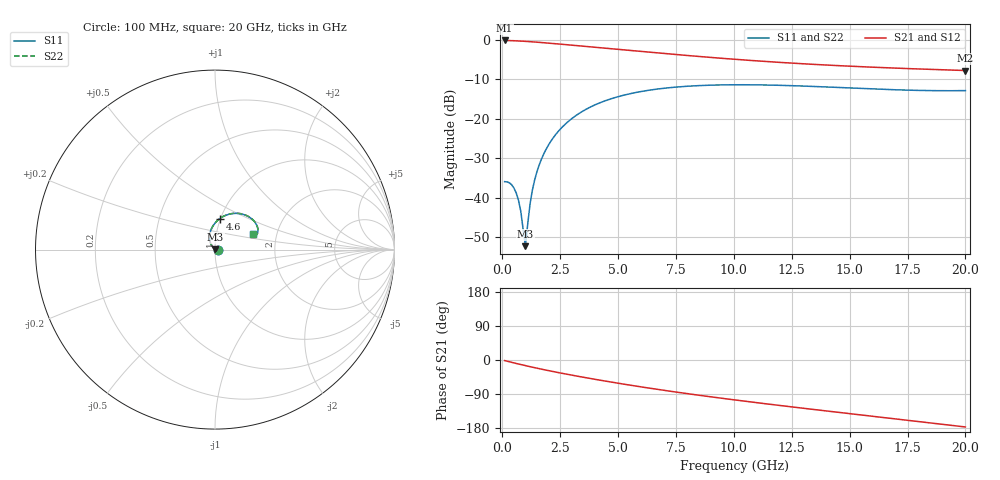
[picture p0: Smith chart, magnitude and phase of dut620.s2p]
! Touchstone file exported from HFSS 2024.1.0
!  File:  C:/UserFiles/LocalFiles/RDL_TSV_Batchsim/temp_RDL_TSV_620_1779801900.aedt
!  Generated:  09:37:50 PM May 26, 2026
!  Design:  RDL_TSV
!  Project:  temp_RDL_TSV_620_1779801900
!  Setup:  Setup1
!  Solution:  Sweep
! Variables:
!  dtsv = 11.95um
!  hbump = 3um
!  htsv = 58.79um
!  ldown = 401.41um
!  lrdl = 343.46um
!  p = 40
!  p1 = 42.47um
!  rhole = 10um
!  subl = 2578.07um
!  t = 450um
!  tdown = 4.8um
!  trdl = 2.23um
!  viad = 10um
!  wdown = 11.71um
!  wrdl = 28.02um
!  xbump = 18um
# GHz S MA R 50.000000
! Terminal data exported
! Port[1] = TM1_1_T1
! Port[2] = TM1_4_T1
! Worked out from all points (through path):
!   200 points, 100 MHz to 20 GHz, reference 50 ohm
!   highest |S21| = -0.14 dB at 100 MHz (marker M1); lowest = -7.8 dB at 20 GHz (marker M2)
!   group delay of S21, straight-line fit = 23.2 ps
!   lowest |S11| = -52.3 dB at 1 GHz (marker M3), VSWR 1.00, Z = 50.1 + j0.225 ohm
!   |S11| at or under -10 dB: start of sweep to end of sweep
!   |S22| runs from -52.4 to -11.4 dB; largest |S21 - S12| = 8.9e-15
!   S11 on the Smith chart (normalised r, x): 100 MHz: 1.03, +0.00; 4.6 GHz: 0.99, +0.35; 20 GHz: 1.50, +0.28
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0.1  0.0159 0.5  0.9836 -1.6  0.9836 -1.6  0.0159 0.5
! Gamma 0 0 0 0
! Port Impedance 50 0 50 0
0.4  0.01458 -2.0  0.9782 -6.2  0.9782 -6.2  0.01457 -2.1
0.6  0.01145 -4.5  0.9727 -9.1  0.9727 -9.1  0.01144 -4.6
0.7  0.009223 -4.4  0.9695 -10.6  0.9695 -10.6  0.009208 -4.4
0.8  0.006653 -1.1  0.966 -12.0  0.966 -12.0  0.006634 -1.1
1  0.002415 68.7  0.9583 -14.8  0.9583 -14.8  0.00241 69.4
1.1  0.004659 118.4  0.9541 -16.2  0.9541 -16.2  0.004683 118.7
1.2  0.008336 129.9  0.9497 -17.6  0.9497 -17.6  0.008371 130.1
1.3  0.01245 132.9  0.9451 -19.0  0.9451 -19.0  0.01249 133.0
1.5  0.02144 132.4  0.9355 -21.7  0.9355 -21.7  0.0215 132.5
1.7  0.03116 129.5  0.9255 -24.3  0.9255 -24.3  0.03123 129.5
2  0.04662 123.9  0.91 -28.1  0.91 -28.1  0.04672 124.0
2.4  0.06809 116.2  0.8889 -33.0  0.8889 -33.0  0.06822 116.2
2.9  0.09501 106.9  0.8627 -38.8  0.8627 -38.8  0.0952 107.0
3.5  0.1259 96.9  0.832 -45.6  0.832 -45.6  0.1262 96.9
4.6  0.1752 81.0  0.7781 -57.2  0.7781 -57.2  0.1756 81.1
6.8  0.2399 57.0  0.6802 -78.4  0.6802 -78.4  0.2405 57.1
8.4  0.2622 44.3  0.6194 -92.2  0.6194 -92.2  0.2629 44.4
10.1  0.2697 34.1  0.5656 -105.8  0.5656 -105.8  0.2704 34.2
13.4  0.257 22.1  0.49 -130.2  0.49 -130.2  0.2578 22.1
16.7  0.2343 19.0  0.4416 -153.5  0.4416 -153.5  0.2351 19.1
20  0.2273 22.9  0.4088 -176.7  0.4088 -176.7  0.228 22.9
